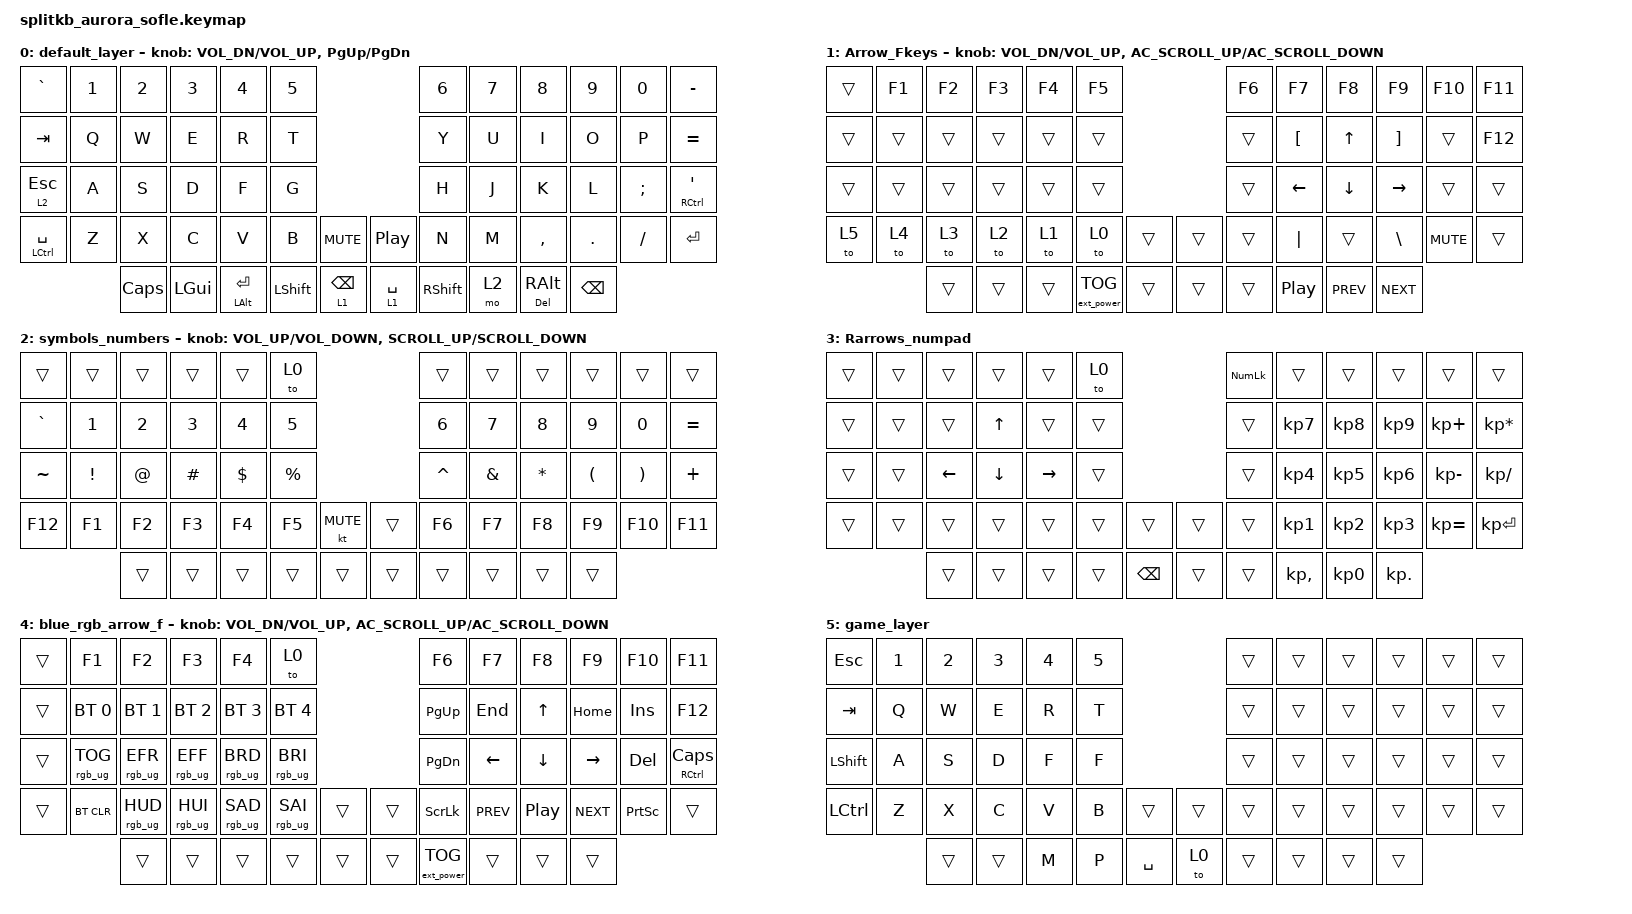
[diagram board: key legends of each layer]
/*
 * Copyright (c) 2020 The ZMK Contributors
 *
 * SPDX-License-Identifier: MIT
 */

#include <behaviors.dtsi>
#include <dt-bindings/zmk/bt.h>
#include <dt-bindings/zmk/ext_power.h>
#include <dt-bindings/zmk/keys.h>
#include <dt-bindings/zmk/keys.h>
#include <dt-bindings/zmk/rgb.h>

&led_strip {
    chain-length = <6>;
    chain-length = <35>;

    // chain-length = <29>; // Uncomment if using only per-key LEDs.
};

/ {
    keymap {
        compatible = "zmk,keymap";

        default_layer {
            // ------------------------------------------------------------------------------------------------------------
            // |  `     |  1  |  2  |  3   |  4   |  5   |                   |  6   |  7    |  8    |  9   |   0   |   -   |
            // |  TAB   |  Q  |  W  |  E   |  R   |  T   |                   |  Y   |  U    |  I    |  O   |   P   | +/=   |
            // | R/ESC  |  A  |  S  |  D   |  F   |  G   |                   |  H   |  J    |  K    |  L   |   ;   |  RC/' |
            // | Lc/SPC |  Z  |  X  |  C   |  V   |  B   |  MUTE  |  | PLAY  |  N   |  M    |  ,    |  .   |   /   | ENTER |
            //               | CAPS| GUI |ALT/ENT| SHIFT|LOWER/BSP |  |LOWE/SPC| SHIFT|  RAISE |  DEL  | BSPC |

            bindings = <
&kp GRAVE        &kp N1  &kp N2    &kp N3    &kp N4          &kp N5                                &kp N6     &kp N7  &kp N8           &kp N9    &kp N0    &kp MINUS
&kp TAB          &kp Q   &kp W     &kp E     &kp R           &kp T                                 &kp Y      &kp U   &kp I            &kp O     &kp P     &kp EQUAL
&lt 2 ESC        &kp A   &kp S     &kp D     &kp F           &kp G                                 &kp H      &kp J   &kp K            &kp L     &kp SEMI  &mt RCTRL SQT
&mt LCTRL SPACE  &kp Z   &kp X     &kp C     &kp V           &kp B      &kp C_MUTE    &kp C_PP     &kp N      &kp M   &kp COMMA        &kp DOT   &kp FSLH  &kp ENTER
                         &kp CLCK  &kp LGUI  &mt LALT ENTER  &kp LSHFT  &lt 1 BSPC    &lt 1 SPACE  &kp RSHFT  &mo 2   &mt DELETE RALT  &kp BSPC
            >;

            sensor-bindings =
                <&inc_dec_kp C_VOL_DN C_VOL_UP>,
                <&inc_dec_kp PAGE_UP PAGE_DOWN>;
        };

        Arrow_Fkeys {
            // ------------------------------------------------------------------------------------------------------------
            // |       |  F1 |  F2 |  F3  |  F4  |  F5  |                   |  F6  |  F7   |  F8   |  F9  |  F10  |  F11  |
            // |       |   1 |   2 |   3  |   4  |   5  |                   |   6  |   7   |  UP   |   9  |    0  |  F12  |
            // |       |  !  |  @  |  #   |  $   |  %   |                   |  ^   |  LEFT | DOwN  | RIGHT|   --  |       |
            // |       |  -  |  _  |  [   |  {   |  \   |        |  |       |  |   |  }    |  ]    |  =   |   +   |       |
            //               |     |      |      |      |        |  |       |      |       |       |      |

            bindings = <
&trans  &kp F1  &kp F2  &kp F3  &kp F4  &kp F5                               &kp F6  &kp F7            &kp F8      &kp F9             &kp F10     &kp F11
&trans  &trans  &trans  &trans  &trans  &trans                               &trans  &kp LEFT_BRACKET  &kp UP      &kp RIGHT_BRACKET  &trans      &kp F12
&trans  &trans  &trans  &trans  &trans  &trans                               &trans  &kp LEFT          &kp DOWN    &kp RIGHT          &trans      &trans
&to 5   &to 4   &to 3   &to 2   &to 1   &to 0              &trans    &trans  &trans  &kp PIPE          &trans      &kp BACKSLASH      &kp K_MUTE  &trans
                &trans  &trans  &trans  &ext_power EP_TOG  &trans    &trans  &trans  &kp C_PLAY_PAUSE  &kp C_PREV  &kp C_NEXT
            >;

            sensor-bindings = <&inc_dec_kp C_VOL_DN C_VOL_UP &inc_dec_kp C_AC_SCROLL_UP C_AC_SCROLL_DOWN>;
        };

        symbols_numbers {
            bindings = <
&trans     &trans    &trans  &trans    &trans    &to 0                            &trans     &trans    &trans     &trans    &trans    &trans
&kp GRAVE  &kp N1    &kp N2  &kp N3    &kp N4    &kp N5                           &kp N6     &kp N7    &kp N8     &kp N9    &kp N0    &kp EQUAL
&kp TILDE  &kp EXCL  &kp AT  &kp HASH  &kp DLLR  &kp PRCNT                        &kp CARET  &kp AMPS  &kp ASTRK  &kp LPAR  &kp RPAR  &kp PLUS
&kp F12    &kp F1    &kp F2  &kp F3    &kp F4    &kp F5     &kt C_MUTE    &trans  &kp F6     &kp F7    &kp F8     &kp F9    &kp F10   &kp F11
                     &trans  &trans    &trans    &trans     &trans        &trans  &trans     &trans    &trans     &trans
            >;

            sensor-bindings =
                <&inc_dec_kp C_VOL_UP C_VOLUME_DOWN>,
                <&inc_dec_kp K_SCROLL_UP K_SCROLL_DOWN>;
        };

        Rarrows_numpad {
            bindings = <
&trans  &trans  &trans    &trans    &trans     &to 0                       &kp KP_NLCK  &trans        &trans           &trans      &trans        &trans
&trans  &trans  &trans    &kp UP    &trans     &trans                      &trans       &kp KP_N7     &kp KP_N8        &kp KP_N9   &kp KP_PLUS   &kp KP_MULTIPLY
&trans  &trans  &kp LEFT  &kp DOWN  &kp RIGHT  &trans                      &trans       &kp KP_N4     &kp KP_N5        &kp KP_N6   &kp KP_MINUS  &kp KP_DIVIDE
&trans  &trans  &trans    &trans    &trans     &trans  &trans      &trans  &trans       &kp KP_N1     &kp KP_N2        &kp KP_N3   &kp KP_EQUAL  &kp KP_ENTER
                &trans    &trans    &trans     &trans  &kp BSPC    &trans  &trans       &kp KP_COMMA  &kp KP_NUMBER_0  &kp KP_DOT
            >;
        };

        blue_rgb_arrow_f {
            // ------------------------------------------------------------------------------------------------------------
            // |     |  F1  |  F2  |  F3   |  F4   |  F5  |                |  F6  |  F7  |  F8   |  F9  |  F10  |  F11  |
            // |     | BT1  | BT2  |  BT3  |  BT4  |  BT5 |                | PGUP |  END |   ^   | HOME |  INS  |  F12  |
            // |     | RGBT | RGB- | RGB+  |  BR-  |  BR+ |                | PGDN |   <- |   v   | ->   |  DEL  | C/CAPS|
            // |     |BTCLR | HUD  | HUI   |  SAD  |  SAI |      |  |      | SCRL | PRVS | PLAY  | NEXT |  PSCR |       |
            //              |      |       |       |      |      |  |      |      |      |       |      |

            bindings = <
&trans  &kp F1           &kp F2           &kp F3           &kp F4           &to 0                              &kp F6             &kp F7      &kp F8    &kp F9      &kp F10    &kp F11
&trans  &bt BT_SEL 0     &bt BT_SEL 1     &bt BT_SEL 2     &bt BT_SEL 3     &bt BT_SEL 4                       &kp PG_UP          &kp END     &kp UP    &kp HOME    &kp INS    &kp F12
&trans  &rgb_ug RGB_TOG  &rgb_ug RGB_EFR  &rgb_ug RGB_EFF  &rgb_ug RGB_BRD  &rgb_ug RGB_BRI                    &kp PG_DN          &kp LEFT    &kp DOWN  &kp RIGHT   &kp DEL    &mt RCTRL CLCK
&trans  &bt BT_CLR       &rgb_ug RGB_HUD  &rgb_ug RGB_HUI  &rgb_ug RGB_SAD  &rgb_ug RGB_SAI  &trans    &trans  &kp SLCK           &kp C_PREV  &kp C_PP  &kp C_NEXT  &kp PSCRN  &trans
                         &trans           &trans           &trans           &trans           &trans    &trans  &ext_power EP_TOG  &trans      &trans    &trans
            >;

            sensor-bindings = <&inc_dec_kp C_VOL_DN C_VOL_UP &inc_dec_kp C_AC_SCROLL_UP C_AC_SCROLL_DOWN>;
        };

        game_layer {
            bindings = <
&kp ESC     &kp NUMBER_1  &kp NUMBER_2  &kp NUMBER_3  &kp NUMBER_4  &kp N5                       &trans  &trans  &trans  &trans  &trans  &trans
&kp TAB     &kp Q         &kp W         &kp E         &kp R         &kp T                        &trans  &trans  &trans  &trans  &trans  &trans
&kp LSHIFT  &kp A         &kp S         &kp D         &kp F         &kp F                        &trans  &trans  &trans  &trans  &trans  &trans
&kp LCTRL   &kp Z         &kp X         &kp C         &kp V         &kp B   &trans       &trans  &trans  &trans  &trans  &trans  &trans  &trans
                          &trans        &trans        &kp M         &kp P   &kp SPACE    &to 0   &trans  &trans  &trans  &trans
            >;
        };
    };
};
